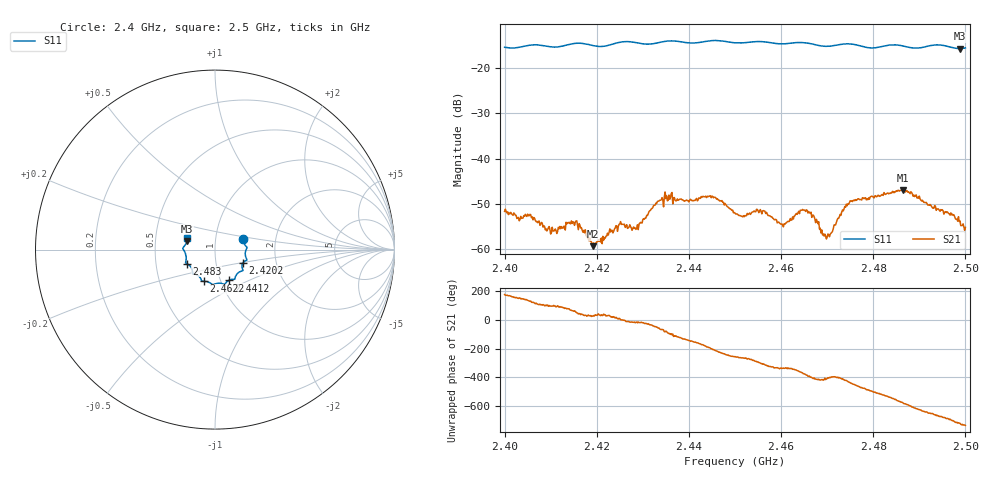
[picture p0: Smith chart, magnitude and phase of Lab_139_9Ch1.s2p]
# Hz S RI R 50
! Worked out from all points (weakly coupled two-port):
!   601 points, 2.4 GHz to 2.5 GHz, reference 50 ohm
!   highest |S21| = -46.92 dB at 2.4865 GHz (marker M1); lowest = -59.3 dB at 2.4192 GHz (marker M2)
!   lowest |S11| = -15.8 dB at 2.4988 GHz (marker M3), VSWR 1.39, Z = 36.3 + j3.46 ohm
!   |S11| at or under -10 dB: start of sweep to end of sweep
!   S12 and S22 are empty: the file has one direction only
!   S11 on the Smith chart (normalised r, x): 2.4 GHz: 1.36, +0.17; 2.4202 GHz: 1.35, -0.20; 2.4412 GHz: 1.09, -0.39; 2.4622 GHz: 0.83, -0.30; 2.483 GHz: 0.72, -0.12; 2.5 GHz: 0.73, +0.09
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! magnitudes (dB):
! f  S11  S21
! 2.4 GHz  -15.5  -51.6
! 2.4055 GHz  -15.0  -52.3
! 2.4097 GHz  -15.3  -55.0
! 2.4167 GHz  -14.6  -55.2
! 2.4192 GHz  -15.1  -59.3
! 2.4202 GHz  -15.3  -58.3
! 2.4253 GHz  -14.3  -54.5
! 2.4287 GHz  -14.5  -55.4
! 2.4333 GHz  -14.5  -49.4
! 2.4412 GHz  -14.5  -49.2
! 2.4452 GHz  -14.0  -48.4
! 2.45 GHz  -14.5  -52.0
! 2.4622 GHz  -14.5  -53.6
! 2.4647 GHz  -14.4  -51.2
! 2.4667 GHz  -14.7  -52.9
! 2.4702 GHz  -15.2  -56.6
! 2.4747 GHz  -14.7  -50.0
! 2.483 GHz  -15.0  -47.6
! 2.4833 GHz  -15.0  -47.7
! 2.4865 GHz  -15.2  -46.9
! 2.4988 GHz  -15.8  -53.7
! 2.5 GHz  -15.6  -55.2
